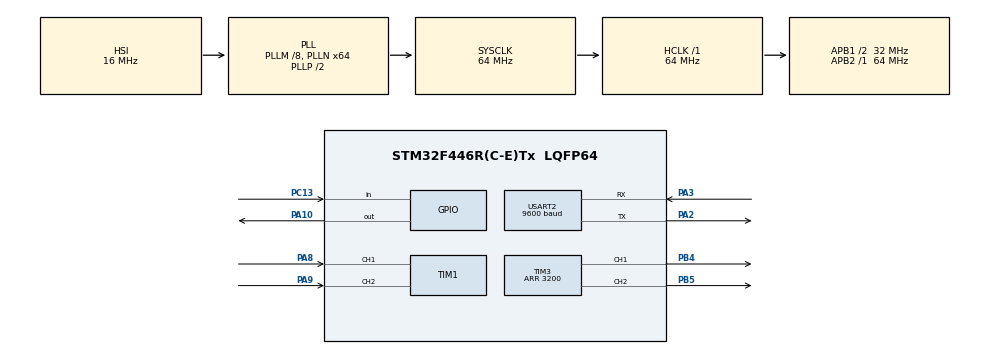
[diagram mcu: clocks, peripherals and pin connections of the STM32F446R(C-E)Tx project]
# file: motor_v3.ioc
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Mcu.Family=STM32F4
Mcu.Name=STM32F446R(C-E)Tx
Mcu.Package=LQFP64
NVIC.PriorityGroup=NVIC_PRIORITYGROUP_4
NVIC.TIM6_DAC_IRQn=true\:0\:0\:false\:false\:true\:true\:true
PA10.PinState=GPIO_PIN_SET
PA10.Signal=GPIO_Output
PA2.Mode=Asynchronous
PA2.Signal=USART2_TX
PA3.Mode=Asynchronous
PA3.Signal=USART2_RX
PA8.GPIO_PuPd=GPIO_PULLUP
PA8.Signal=S_TIM1_CH1
PA9.GPIO_PuPd=GPIO_PULLUP
PA9.Signal=S_TIM1_CH2
PB4.Signal=S_TIM3_CH1
PB5.Signal=S_TIM3_CH2
PC13.Signal=GPIO_Input
ProjectManager.HeapSize=0x200
ProjectManager.StackSize=0x400
ProjectManager.TargetToolchain=STM32CubeIDE
RCC.AHBFreq_Value=64000000
RCC.APB1CLKDivider=RCC_HCLK_DIV2
RCC.APB1Freq_Value=32000000
RCC.APB1TimFreq_Value=64000000
RCC.APB2Freq_Value=64000000
RCC.APB2TimFreq_Value=64000000
RCC.CortexFreq_Value=64000000
RCC.HCLKFreq_Value=64000000
RCC.PLLM=8
RCC.PLLN=64
RCC.SYSCLKFreq_VALUE=64000000
RCC.SYSCLKSource=RCC_SYSCLKSOURCE_PLLCLK
RCC.USBFreq_Value=64000000
RCC.VCOOutputFreq_Value=128000000
SH.S_TIM1_CH1.0=TIM1_CH1,Encoder_Interface
SH.S_TIM1_CH2.0=TIM1_CH2,Encoder_Interface
SH.S_TIM3_CH1.0=TIM3_CH1,PWM Generation1 CH1
SH.S_TIM3_CH2.0=TIM3_CH2,PWM Generation2 CH2
TIM1.EncoderMode=TIM_ENCODERMODE_TI12
TIM3.Channel-PWM\ Generation1\ CH1=TIM_CHANNEL_1
TIM3.Channel-PWM\ Generation2\ CH2=TIM_CHANNEL_2
TIM3.Period=3200
TIM3.Pulse-PWM\ Generation2\ CH2=160
TIM6.Period=64000
USART2.BaudRate=9600
USART2.VirtualMode=VM_ASYNC
VP_TIM6_VS_ClockSourceINT.Mode=Enable_Timer
board=custom

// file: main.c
/* USER CODE BEGIN Header */
/**
  ******************************************************************************
  * @file           : main.c
  * @brief          : Main program body
  ******************************************************************************
  * @attention
  *
  * Copyright (c) 2022 STMicroelectronics.
  * All rights reserved.
  *
  * This software is licensed under terms that can be found in the LICENSE file
  * in the root directory of this software component.
  * If no LICENSE file comes with this software, it is provided AS-IS.
  *
  ******************************************************************************
  */
/* USER CODE END Header */
#include "main.h"

/* USER CODE BEGIN Includes */
#include <stdio.h>
#include <string.h>
#include <math.h>
/* USER CODE END Includes */

/* USER CODE BEGIN PM */
/*MODELADO*/
//int array[1201];
/*MODELADO*/

/*CONTROLADOR*/
int array[7001];
double general_voltage;
double array_voltage[7001];
/*CONTROLADOR*/
int flag_lleno_array = 0;
int pos_array = 0;
int pulsos = 0;
char msg[200];
int time_high = 600;
int time_end = 1200;
int cnt = 0;
/* USER CODE END PM */

TIM_HandleTypeDef htim1;
TIM_HandleTypeDef htim3;
TIM_HandleTypeDef htim6;

UART_HandleTypeDef huart2;

/* USER CODE BEGIN PV */
volatile uint32_t tim1_cnt = 0, direction;
/* USER CODE END PV */

void SystemClock_Config(void);
static void MX_GPIO_Init(void);
static void MX_TIM3_Init(void);
static void MX_TIM1_Init(void);
static void MX_USART2_UART_Init(void);
static void MX_TIM6_Init(void);

/* USER CODE BEGIN 0 */

/* PWM, MODELADO */
/*
int set_voltage(double voltage, double period){
	double dc;

	dc = voltage * period / 12;

	return dc;
}
*/
/* PWM, MODELADO */

/* CONTROLADOR*/
void set_voltage(double error, double period, double Kp){
	double dc;
	double voltage;
	voltage = fabs(Kp * error);

	if (voltage >= 12){
		voltage = 12;
	}
	general_voltage = voltage;
	dc = voltage * period / 12;

	if (error > 0){
		TIM3 -> CCR1 = dc;
		TIM3 -> CCR2 = 0;
	} else if (error < 0){
		TIM3 -> CCR1 = 0;
		TIM3 -> CCR2 = dc;
	} else if (error == 0){
		TIM3 -> CCR1 = 0;
		TIM3 -> CCR2 = 0;
	}
	return;
}
/* CONTROLADOR */

/* CONTROLADOR*/
double get_angle(int pulsos){
	double angle;
	angle=2*M_PI*pulsos/(64*506.25);
	return angle;
}
/* CONTROLADOR*/

/* USER CODE END 0 */

int main(void)
{

  /* MCU Configuration--------------------------------------------------------*/

  /* Reset of all peripherals, Initializes the Flash interface and the Systick. */
  HAL_Init();

  /* Configure the system clock */
  SystemClock_Config();

  /* Initialize all configured peripherals */
  MX_GPIO_Init();
  MX_TIM3_Init();
  MX_TIM1_Init();
  MX_USART2_UART_Init();
  MX_TIM6_Init();
  /* USER CODE BEGIN 2 */

  /*PWM*/
  HAL_TIM_PWM_Start(&htim3, TIM_CHANNEL_1);
  HAL_TIM_PWM_Start(&htim3, TIM_CHANNEL_2);
  HAL_Delay(1500);
  /*PWM*/

  /*ENCODER*/
  HAL_TIM_Encoder_Start(&htim1, TIM_CHANNEL_ALL);
  TIM1->CNT = 0;
  /*ENCODER*/

  /* CONTROLADOR */
  double R = 5*M_PI/2; // R = M_PI/2, 2*M_PI,-3*M_PI/2, -M_PI/2, 5*M_PI/2
  double angle = 0;
  double error;
  double Kp = 2000; // Kp = 1, 10, 50, 100, 150, 200, 250, 300, 350, 500, 1000, 2000, 3000
  /*CONTROLADOR*/

  /*MODELADO, CONTROLADOR*/
  HAL_TIM_Base_Start_IT(&htim6);
  /*MODELADO, CONTROLDAOR*/

  /*PWM*/
  //TIM3 -> CCR1 = set_voltage(3, htim3.Init.Period);
  //TIM3 -> CCR2 = set_voltage(0, htim3.Init.Period);
  /*PWM*/

  /* USER CODE END 2 */

  /* Infinite loop */
  while (1)
  {

    /* USER CODE BEGIN 3 */
	  /*MODELADO (calculo de la reductora)*/
	  /*tim1_cnt = htim1.Instance -> CNT;
	  if(HAL_GPIO_ReadPin(GPIOC, GPIO_PIN_13) == GPIO_PIN_RESET){
		  TIM3 -> CCR1 = set_voltage(3, htim3.Init.Period);
		  TIM3 -> CCR2 = set_voltage(0, htim3.Init.Period);
	  } else if (HAL_GPIO_ReadPin(GPIOC, GPIO_PIN_13) == GPIO_PIN_SET){
		  TIM3 -> CCR1 = set_voltage(0, htim3.Init.Period);
		  TIM3 -> CCR2 = set_voltage(0, htim3.Init.Period);
	  }*/
	  /*MODELADO (calculo de la reductora)*/

	  /*MODELADO (de los polos y ganancia del motor)*/
	  /*if (pulsos <= time_high){
		  TIM3 -> CCR1 = set_voltage(10, htim3.Init.Period);
		  TIM3 -> CCR2 = set_voltage(0, htim3.Init.Period);
	  } else if ( pulsos < time_end) {
		  TIM3 -> CCR1 = set_voltage(0, htim3.Init.Period);
		  TIM3 -> CCR2 = set_voltage(0, htim3.Init.Period);
	 }*/
	 /*MODELADO (de los polos y ganancia del motor)*/

	  /*MODELADO*/
	 /*if(flag_lleno_array == 1){
		 flag_lleno_array = 0;
		  for (int j = 0; j < 1201; j++ ){
			  double angle=get_angle(array[j]);
			  sprintf(msg, "%d pulsos: %d ángulo: %f \r\n", j,array[j], angle);
			  HAL_UART_Transmit(&huart2, (uint8_t*)msg, strlen(msg), HAL_MAX_DELAY);
		  }
		}*/
	  /*MODELADO*/

	  /*CONTROLADOR*/
	  if (htim1.Instance -> CNT > 32768)
		  cnt = htim1.Instance -> CNT - 2*32768;
	  else {
		  cnt = htim1.Instance -> CNT;
	  }
	  angle = get_angle (cnt);
	  error = R - angle;
	  set_voltage(error, htim3.Init.Period, Kp);
	  /*CONTROLADOR*/

	  /*CONTROLADOR*/

	  if(flag_lleno_array == 1){
	  		 flag_lleno_array = 0;
	  		  sprintf(msg, "tiempo,pulsos,pos_final,angulo,error,voltage \r\n");
	  		  HAL_UART_Transmit(&huart2, (uint8_t*)msg, strlen(msg), HAL_MAX_DELAY);
	  		  for (int j = 0; j < 7001; j++ ){
	  			  if (j%10 == 0){
					  double angle=get_angle(array[j]);
					  //sprintf(msg, "%d pulsos: %d ángulo: %f error: %f , array voltaje: %f \r\n", j,array[j], angle, R - angle, array_voltage[j]);
					  sprintf(msg, "%d,%d,%f,%f,%f,%f \r\n", j, array[j], R, angle, R - angle, array_voltage[j]);
					  HAL_UART_Transmit(&huart2, (uint8_t*)msg, strlen(msg), HAL_MAX_DELAY);
	  			  }
	  		  }
	  		}
	  /*CONTROLADOR*/
  }
  /* USER CODE END 3 */
}

void SystemClock_Config(void)
{
  RCC_OscInitTypeDef RCC_OscInitStruct = {0};
  RCC_ClkInitTypeDef RCC_ClkInitStruct = {0};

  /** Configure the main internal regulator output voltage
  */
  __HAL_RCC_PWR_CLK_ENABLE();
  __HAL_PWR_VOLTAGESCALING_CONFIG(PWR_REGULATOR_VOLTAGE_SCALE3);
  /** Initializes the RCC Oscillators according to the specified parameters
  * in the RCC_OscInitTypeDef structure.
  */
  RCC_OscInitStruct.OscillatorType = RCC_OSCILLATORTYPE_HSI;
  RCC_OscInitStruct.HSIState = RCC_HSI_ON;
  RCC_OscInitStruct.HSICalibrationValue = RCC_HSICALIBRATION_DEFAULT;
  RCC_OscInitStruct.PLL.PLLState = RCC_PLL_ON;
  RCC_OscInitStruct.PLL.PLLSource = RCC_PLLSOURCE_HSI;
  RCC_OscInitStruct.PLL.PLLM = 8;
  RCC_OscInitStruct.PLL.PLLN = 64;
  RCC_OscInitStruct.PLL.PLLP = RCC_PLLP_DIV2;
  RCC_OscInitStruct.PLL.PLLQ = 2;
  RCC_OscInitStruct.PLL.PLLR = 2;
  if (HAL_RCC_OscConfig(&RCC_OscInitStruct) != HAL_OK)
  {
    Error_Handler();
  }
  /** Initializes the CPU, AHB and APB buses clocks
  */
  RCC_ClkInitStruct.ClockType = RCC_CLOCKTYPE_HCLK|RCC_CLOCKTYPE_SYSCLK
                              |RCC_CLOCKTYPE_PCLK1|RCC_CLOCKTYPE_PCLK2;
  RCC_ClkInitStruct.SYSCLKSource = RCC_SYSCLKSOURCE_PLLCLK;
  RCC_ClkInitStruct.AHBCLKDivider = RCC_SYSCLK_DIV1;
  RCC_ClkInitStruct.APB1CLKDivider = RCC_HCLK_DIV2;
  RCC_ClkInitStruct.APB2CLKDivider = RCC_HCLK_DIV1;

  if (HAL_RCC_ClockConfig(&RCC_ClkInitStruct, FLASH_LATENCY_2) != HAL_OK)
  {
    Error_Handler();
  }
}

static void MX_TIM1_Init(void)
{

  TIM_Encoder_InitTypeDef sConfig = {0};
  TIM_MasterConfigTypeDef sMasterConfig = {0};

  /* USER CODE BEGIN TIM1_Init 1 */
  //htim1.Instance -> CNT = 0;
  /* USER CODE END TIM1_Init 1 */
  htim1.Instance = TIM1;
  htim1.Init.Prescaler = 0;
  htim1.Init.CounterMode = TIM_COUNTERMODE_UP;
  htim1.Init.Period = 65535;
  htim1.Init.ClockDivision = TIM_CLOCKDIVISION_DIV1;
  htim1.Init.RepetitionCounter = 0;
  htim1.Init.AutoReloadPreload = TIM_AUTORELOAD_PRELOAD_DISABLE;
  sConfig.EncoderMode = TIM_ENCODERMODE_TI12;
  sConfig.IC1Polarity = TIM_ICPOLARITY_RISING;
  sConfig.IC1Selection = TIM_ICSELECTION_DIRECTTI;
  sConfig.IC1Prescaler = TIM_ICPSC_DIV1;
  sConfig.IC1Filter = 0;
  sConfig.IC2Polarity = TIM_ICPOLARITY_RISING;
  sConfig.IC2Selection = TIM_ICSELECTION_DIRECTTI;
  sConfig.IC2Prescaler = TIM_ICPSC_DIV1;
  sConfig.IC2Filter = 0;
  if (HAL_TIM_Encoder_Init(&htim1, &sConfig) != HAL_OK)
  {
    Error_Handler();
  }
  sMasterConfig.MasterOutputTrigger = TIM_TRGO_RESET;
  sMasterConfig.MasterSlaveMode = TIM_MASTERSLAVEMODE_DISABLE;
  if (HAL_TIMEx_MasterConfigSynchronization(&htim1, &sMasterConfig) != HAL_OK)
  {
    Error_Handler();
  }

}

static void MX_TIM3_Init(void)
{

  TIM_MasterConfigTypeDef sMasterConfig = {0};
  TIM_OC_InitTypeDef sConfigOC = {0};

  htim3.Instance = TIM3;
  htim3.Init.Prescaler = 0;
  htim3.Init.CounterMode = TIM_COUNTERMODE_UP;
  htim3.Init.Period = 3200;
  htim3.Init.ClockDivision = TIM_CLOCKDIVISION_DIV1;
  htim3.Init.AutoReloadPreload = TIM_AUTORELOAD_PRELOAD_DISABLE;
  if (HAL_TIM_PWM_Init(&htim3) != HAL_OK)
  {
    Error_Handler();
  }
  sMasterConfig.MasterOutputTrigger = TIM_TRGO_RESET;
  sMasterConfig.MasterSlaveMode = TIM_MASTERSLAVEMODE_DISABLE;
  if (HAL_TIMEx_MasterConfigSynchronization(&htim3, &sMasterConfig) != HAL_OK)
  {
    Error_Handler();
  }
  sConfigOC.OCMode = TIM_OCMODE_PWM1;
  sConfigOC.Pulse = 0;
  sConfigOC.OCPolarity = TIM_OCPOLARITY_HIGH;
  sConfigOC.OCFastMode = TIM_OCFAST_DISABLE;
  if (HAL_TIM_PWM_ConfigChannel(&htim3, &sConfigOC, TIM_CHANNEL_1) != HAL_OK)
  {
    Error_Handler();
  }
  sConfigOC.Pulse = 160;
  if (HAL_TIM_PWM_ConfigChannel(&htim3, &sConfigOC, TIM_CHANNEL_2) != HAL_OK)
  {
    Error_Handler();
  }
  HAL_TIM_MspPostInit(&htim3);

}

static void MX_TIM6_Init(void)
{

  TIM_MasterConfigTypeDef sMasterConfig = {0};

  htim6.Instance = TIM6;
  htim6.Init.Prescaler = 0;
  htim6.Init.CounterMode = TIM_COUNTERMODE_UP;
  htim6.Init.Period = 64000;
  htim6.Init.AutoReloadPreload = TIM_AUTORELOAD_PRELOAD_DISABLE;
  if (HAL_TIM_Base_Init(&htim6) != HAL_OK)
  {
    Error_Handler();
  }
  sMasterConfig.MasterOutputTrigger = TIM_TRGO_RESET;
  sMasterConfig.MasterSlaveMode = TIM_MASTERSLAVEMODE_DISABLE;
  if (HAL_TIMEx_MasterConfigSynchronization(&htim6, &sMasterConfig) != HAL_OK)
  {
    Error_Handler();
  }

}

static void MX_USART2_UART_Init(void)
{

  huart2.Instance = USART2;
  huart2.Init.BaudRate = 9600;
  huart2.Init.WordLength = UART_WORDLENGTH_8B;
  huart2.Init.StopBits = UART_STOPBITS_1;
  huart2.Init.Parity = UART_PARITY_NONE;
  huart2.Init.Mode = UART_MODE_TX_RX;
  huart2.Init.HwFlowCtl = UART_HWCONTROL_NONE;
  huart2.Init.OverSampling = UART_OVERSAMPLING_16;
  if (HAL_UART_Init(&huart2) != HAL_OK)
  {
    Error_Handler();
  }

}

static void MX_GPIO_Init(void)
{
  GPIO_InitTypeDef GPIO_InitStruct = {0};

  /* GPIO Ports Clock Enable */
  __HAL_RCC_GPIOC_CLK_ENABLE();
  __HAL_RCC_GPIOA_CLK_ENABLE();
  __HAL_RCC_GPIOB_CLK_ENABLE();

  /*Configure GPIO pin Output Level */
  HAL_GPIO_WritePin(GPIOA, GPIO_PIN_10, GPIO_PIN_SET);

  /*Configure GPIO pin : PC13 */
  GPIO_InitStruct.Pin = GPIO_PIN_13;
  GPIO_InitStruct.Mode = GPIO_MODE_INPUT;
  GPIO_InitStruct.Pull = GPIO_NOPULL;
  HAL_GPIO_Init(GPIOC, &GPIO_InitStruct);

  /*Configure GPIO pin : PA10 */
  GPIO_InitStruct.Pin = GPIO_PIN_10;
  GPIO_InitStruct.Mode = GPIO_MODE_OUTPUT_PP;
  GPIO_InitStruct.Pull = GPIO_NOPULL;
  GPIO_InitStruct.Speed = GPIO_SPEED_FREQ_LOW;
  HAL_GPIO_Init(GPIOA, &GPIO_InitStruct);

}

/* USER CODE BEGIN 4 */
/*MODELADO, CONTROLADOR*/

void TIM6_IRQHandler(void) {

	HAL_TIM_IRQHandler(&htim6);
}
/*MODELADO, CONTROLADOR*/

/*MODELADO*/
/*
void HAL_TIM_PeriodElapsedCallback(TIM_HandleTypeDef *htim) {
// This callback is automatically called by the HAL on the UEV event
	if(htim->Instance == TIM6){
		if(pulsos <= time_end){
			array[pos_array] = htim1.Instance -> CNT;
			pos_array ++;
			pulsos ++;
			if (pos_array == 1201){
			  flag_lleno_array = 1;
			  pos_array = 0;
			}
		}
	}
}*/
/*MODELADO*/

/*CONTROLADOR*/
void HAL_TIM_PeriodElapsedCallback(TIM_HandleTypeDef *htim) {
// This callback is automatically called by the HAL on the UEV event
	if(htim->Instance == TIM6){
		if(pulsos <= 7001){
			array[pos_array] = cnt;
			array_voltage[pos_array] = general_voltage;
			pos_array ++;
			pulsos ++;
			if (pos_array == 7001){
			  flag_lleno_array = 1;
			  pos_array = 0;
			}
		}
	}
}
/*CONTROLADOR*/
/* USER CODE END 4 */

void Error_Handler(void)
{
  __disable_irq();
  while (1)
  {
  }
}
